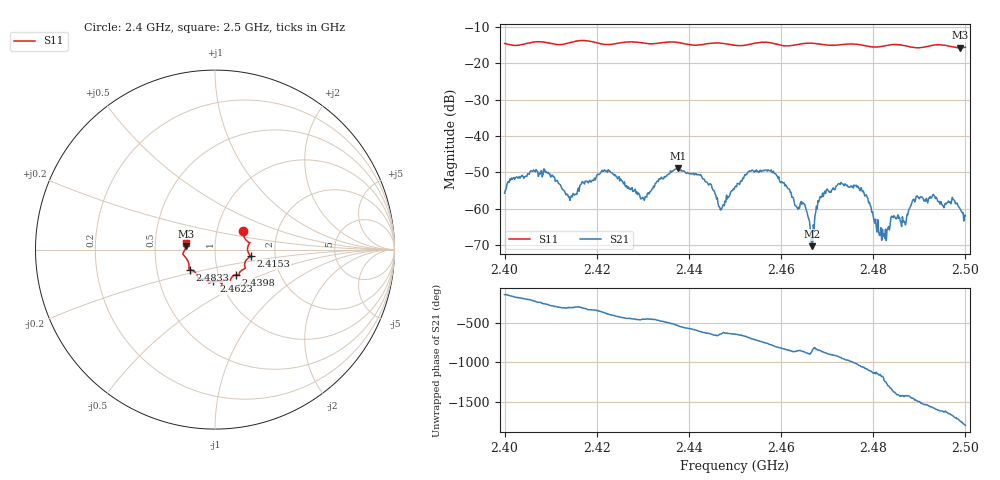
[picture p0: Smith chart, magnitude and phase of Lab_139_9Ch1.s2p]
# Hz S RI R 50
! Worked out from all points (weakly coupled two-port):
!   601 points, 2.4 GHz to 2.5 GHz, reference 50 ohm
!   highest |S21| = -48.85 dB at 2.4377 GHz (marker M1); lowest = -70.3 dB at 2.4667 GHz (marker M2)
!   lowest |S11| = -15.7 dB at 2.4988 GHz (marker M3), VSWR 1.39, Z = 36 + j1.38 ohm
!   |S11| at or under -10 dB: start of sweep to end of sweep
!   S12 and S22 are empty: the file has one direction only
!   S11 on the Smith chart (normalised r, x): 2.4 GHz: 1.33, +0.29; 2.4153 GHz: 1.49, -0.11; 2.4398 GHz: 1.21, -0.35; 2.4623 GHz: 0.92, -0.34; 2.4833 GHz: 0.74, -0.17; 2.5 GHz: 0.72, +0.06
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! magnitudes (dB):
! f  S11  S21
! 2.4 GHz  -14.5  -55.8
! 2.4065 GHz  -14.1  -49.6
! 2.4153 GHz  -13.9  -56.1
! 2.4167 GHz  -13.7  -53.2
! 2.4222 GHz  -14.8  -49.6
! 2.43 GHz  -14.4  -56.9
! 2.4333 GHz  -14.4  -52.6
! 2.4377 GHz  -14.3  -48.9
! 2.4398 GHz  -14.8  -50.2
! 2.4468 GHz  -14.4  -60.4
! 2.45 GHz  -15.0  -54.0
! 2.4573 GHz  -14.2  -49.5
! 2.4623 GHz  -15.1  -56.8
! 2.4652 GHz  -14.5  -59.0
! 2.4667 GHz  -14.4  -70.3
! 2.4685 GHz  -14.7  -56.6
! 2.4728 GHz  -14.9  -53.4
! 2.4775 GHz  -15.0  -54.8
! 2.4833 GHz  -15.0  -64.9
! 2.4898 GHz  -15.7  -56.8
! 2.4988 GHz  -15.7  -60.0
! 2.5 GHz  -15.6  -62.0
